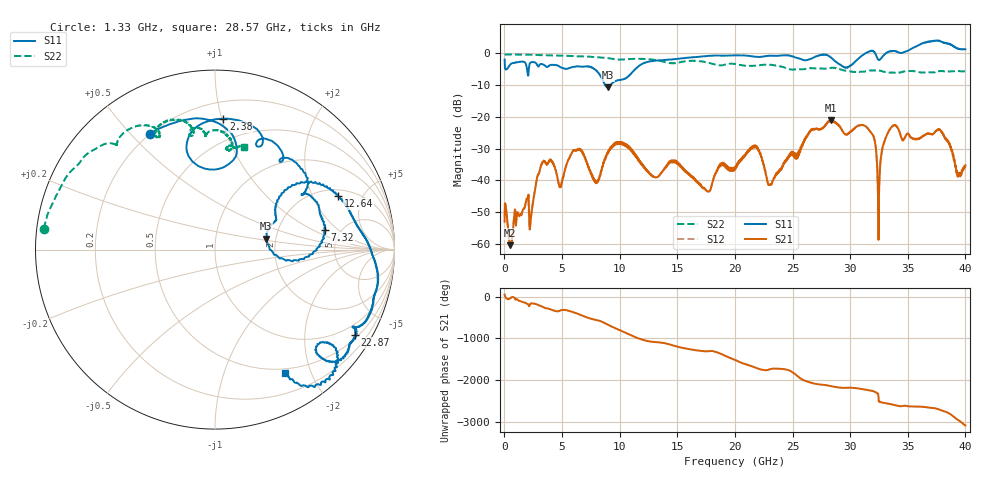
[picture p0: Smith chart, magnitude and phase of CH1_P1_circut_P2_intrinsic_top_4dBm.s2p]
!Keysight Technologies,N5222B,MY61257109,A.17.25.03
!Date: Wednesday, July 22, 2026 17:46:19
!Correction: S11(C  2-Port  )
!S21(C  2-Port  )
!S12(C  2-Port  )
!S22(C  2-Port  )
!S2P File: Measurements: S11, S21, S12, S22:
# Hz S  dB  R 50
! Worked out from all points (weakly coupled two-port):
!   4000 points, 10 MHz to 40 GHz, reference 50 ohm
!   highest |S21| = -21.00 dB at 28.33 GHz (marker M1); lowest = -60.5 dB at 490 MHz (marker M2)
!   lowest |S11| = -10.7 dB at 8.99 GHz (marker M3), VSWR 1.83, Z = 89 + j11.9 ohm
!   |S11| at or under -10 dB: 8.738 GHz to 9.199 GHz (460.3 MHz wide, 5.13 % of centre)
!   |S22| runs from -6.1 to -0.3 dB; largest |S21 - S12| = 0.0032
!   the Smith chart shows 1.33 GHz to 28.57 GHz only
!   S11 on the Smith chart (normalised r, x): 1.33 GHz: 0.20, +0.57; 2.38 GHz: 0.32, +1.01; 7.32 GHz: 3.79, +1.36; 12.64 GHz: 2.34, +3.18; 22.87 GHz: 0.60, -3.47; 28.57 GHz: 0.45, -1.63
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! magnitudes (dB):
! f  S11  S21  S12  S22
! 10 MHz  -1.9  -53.0  -51.5  -0.3
! 490 MHz  -3.5  -60.5  -60.4  -0.3
! 1.33 GHz  -2.6  -50.8  -50.8  -0.4
! 2.38 GHz  -2.7  -49.1  -49.1  -0.4
! 3.32 GHz  -3.4  -34.2  -34.0  -0.6
! 4.83 GHz  -4.3  -41.9  -42.0  -0.7
! 6.68 GHz  -4.2  -30.5  -30.8  -1.0
! 7.32 GHz  -4.1  -35.9  -36.0  -1.0
! 8.99 GHz  -10.7  -30.8  -31.4  -1.5
! 12.64 GHz  -2.5  -38.1  -38.0  -1.8
! 13.34 GHz  -2.2  -38.7  -38.8  -2.2
! 20.01 GHz  -0.6  -36.4  -35.9  -3.3
! 21.76 GHz  -1.0  -29.2  -29.6  -3.9
! 22.87 GHz  -0.8  -41.2  -41.1  -3.5
! 26.67 GHz  -1.6  -24.1  -24.0  -4.6
! 28.33 GHz  -1.3  -21.0  -21.2  -4.5
! 28.57 GHz  -2.1  -21.6  -21.5  -4.5
! 31.69 GHz  0.7  -24.4  -24.4  -5.4
! 32.48 GHz  -2.0  -49.5  -50.2  -5.4
! 33.34 GHz  0.5  -24.5  -24.5  -6.0
! 37.74 GHz  4.0  -24.1  -24.1  -5.5
! 40 GHz  1.3  -35.3  -35.6  -5.6
